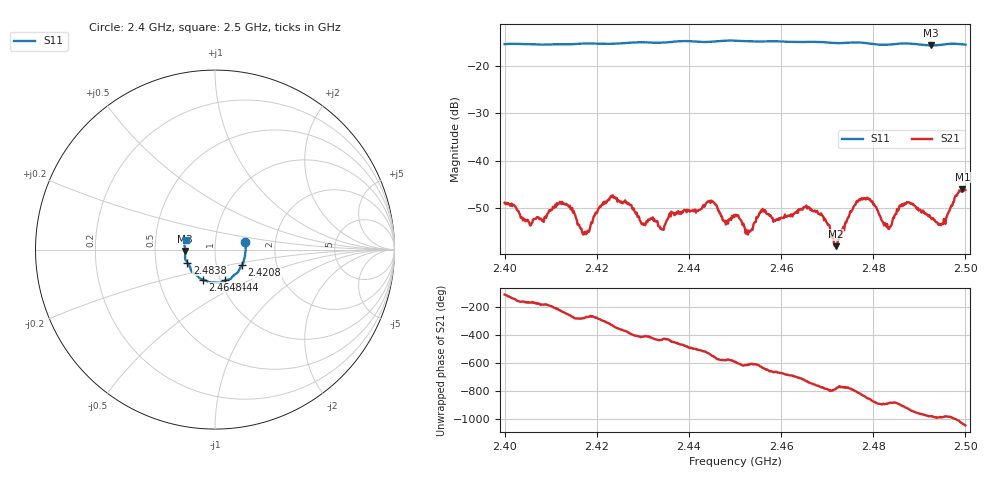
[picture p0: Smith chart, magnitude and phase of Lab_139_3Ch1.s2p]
# Hz S RI R 50
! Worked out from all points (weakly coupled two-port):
!   601 points, 2.4 GHz to 2.5 GHz, reference 50 ohm
!   highest |S21| = -46.00 dB at 2.4993 GHz (marker M1); lowest = -58.1 dB at 2.4718 GHz (marker M2)
!   lowest |S11| = -15.6 dB at 2.4925 GHz (marker M3), VSWR 1.40, Z = 35.8 - j0.613 ohm
!   |S11| at or under -10 dB: start of sweep to end of sweep
!   S12 and S22 are empty: the file has one direction only
!   S11 on the Smith chart (normalised r, x): 2.4 GHz: 1.39, +0.12; 2.4208 GHz: 1.33, -0.24; 2.444 GHz: 1.05, -0.37; 2.4648 GHz: 0.83, -0.29; 2.4838 GHz: 0.73, -0.11; 2.5 GHz: 0.72, +0.08
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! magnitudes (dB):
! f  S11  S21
! 2.4 GHz  -15.3  -48.9
! 2.4055 GHz  -15.3  -53.6
! 2.413 GHz  -15.3  -49.2
! 2.4167 GHz  -15.2  -54.4
! 2.4208 GHz  -15.2  -49.8
! 2.4235 GHz  -15.2  -47.3
! 2.4333 GHz  -15.0  -53.9
! 2.444 GHz  -14.9  -48.8
! 2.45 GHz  -14.6  -51.5
! 2.4528 GHz  -14.7  -55.6
! 2.456 GHz  -14.7  -50.2
! 2.4648 GHz  -14.9  -49.9
! 2.4667 GHz  -14.8  -50.6
! 2.4718 GHz  -15.1  -58.1
! 2.4775 GHz  -15.0  -47.9
! 2.4833 GHz  -15.4  -54.5
! 2.4838 GHz  -15.4  -53.8
! 2.4873 GHz  -15.2  -48.7
! 2.4925 GHz  -15.6  -52.0
! 2.4952 GHz  -15.4  -53.4
! 2.4993 GHz  -15.4  -46.0
! 2.5 GHz  -15.4  -46.2
